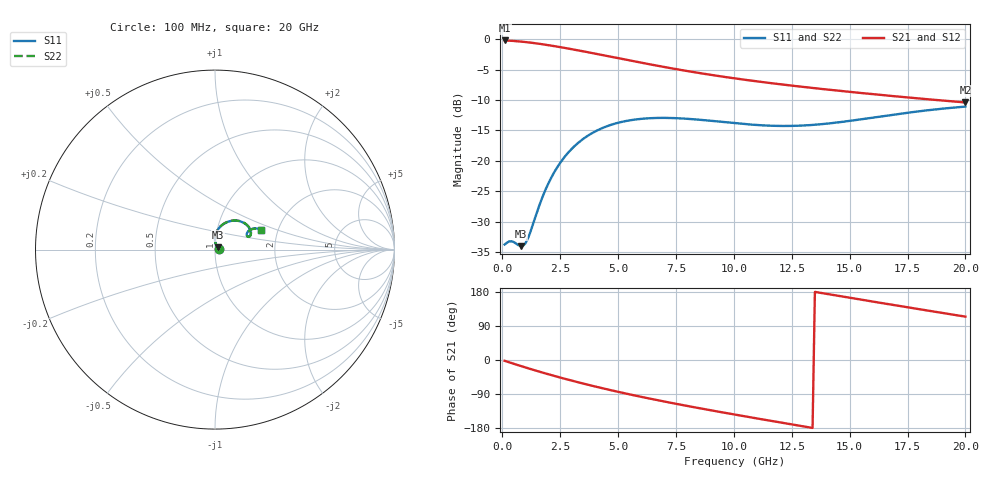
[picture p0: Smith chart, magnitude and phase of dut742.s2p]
! Touchstone file exported from HFSS 2024.1.0
!  File:  C:/UserFiles/LocalFiles/RDL_TSV_Batchsim/temp_RDL_TSV_742_1779895685.aedt
!  Generated:  11:42:44 PM May 27, 2026
!  Design:  RDL_TSV
!  Project:  temp_RDL_TSV_742_1779895685
!  Setup:  Setup1
!  Solution:  Sweep
! Variables:
!  dtsv = 10.39um
!  hbump = 3um
!  htsv = 68.96um
!  ldown = 699.53um
!  lrdl = 411.17um
!  p = 40
!  p1 = 43.53um
!  rhole = 10um
!  subl = 3743.27um
!  t = 450um
!  tdown = 4.03um
!  trdl = 2.4um
!  viad = 10um
!  wdown = 16.01um
!  wrdl = 29.63um
!  xbump = 18um
# GHz S MA R 50.000000
! Terminal data exported
! Port[1] = TM1_1_T1
! Port[2] = TM1_4_T1
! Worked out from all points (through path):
!   200 points, 100 MHz to 20 GHz, reference 50 ohm
!   highest |S21| = -0.18 dB at 100 MHz (marker M1); lowest = -10.4 dB at 20 GHz (marker M2)
!   group delay of S21, straight-line fit = 32.4 ps
!   lowest |S11| = -34.1 dB at 800 MHz (marker M3), VSWR 1.04, Z = 51.6 + j1.28 ohm
!   |S11| at or under -10 dB: start of sweep to end of sweep
!   |S22| runs from -34.1 to -11.1 dB; largest |S21 - S12| = 1.2e-14
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0.1  0.02046 6.3  0.9792 -2.1  0.9792 -2.1  0.02046 6.3
! Gamma 0 0 0 0
! Port Impedance 50 0 50 0
0.4  0.02177 17.3  0.9726 -8.1  0.9726 -8.1  0.02176 17.3
0.8  0.01983 38.8  0.9591 -15.9  0.9591 -15.9  0.01981 38.9
1  0.02096 57.1  0.9506 -19.7  0.9506 -19.7  0.02096 57.3
1.1  0.02281 65.9  0.9459 -21.6  0.9459 -21.6  0.02283 66.1
1.8  0.05396 90.2  0.9074 -34.3  0.9074 -34.3  0.05411 90.4
2.3  0.08397 87.6  0.8761 -42.9  0.8761 -42.9  0.08423 87.8
2.9  0.1199 79.9  0.8366 -52.8  0.8366 -52.8  0.1203 80.0
3.5  0.1518 71.1  0.7966 -62.3  0.7966 -62.3  0.1523 71.2
4.2  0.1818 61.2  0.7506 -72.7  0.7506 -72.7  0.1824 61.3
4.9  0.2032 52.3  0.7064 -82.6  0.7064 -82.6  0.2041 52.3
5.8  0.2195 42.4  0.6536 -94.7  0.6536 -94.7  0.2205 42.5
6.8  0.2256 33.6  0.6014 -107.2  0.6014 -107.2  0.2268 33.7
7.6  0.224 28.3  0.5646 -116.8  0.5646 -116.8  0.2253 28.3
8.4  0.2188 24.4  0.5322 -125.9  0.5322 -125.9  0.2202 24.4
10.1  0.2036 20.7  0.4754 -144.6  0.4754 -144.6  0.2052 20.7
11.7  0.1942 22.2  0.4337 -161.6  0.4337 -161.6  0.1957 22.0
13.4  0.1974 26.2  0.3979 -179.3  0.3979 -179.3  0.1987 25.9
15.1  0.2144 29.1  0.368 163.3  0.368 163.3  0.2154 28.7
16.7  0.237 29.2  0.3436 147.1  0.3436 147.1  0.2377 28.8
18.3  0.2597 26.9  0.3222 131.2  0.3222 131.2  0.2602 26.6
20  0.2794 23.0  0.3023 114.5  0.3023 114.5  0.2797 22.7
